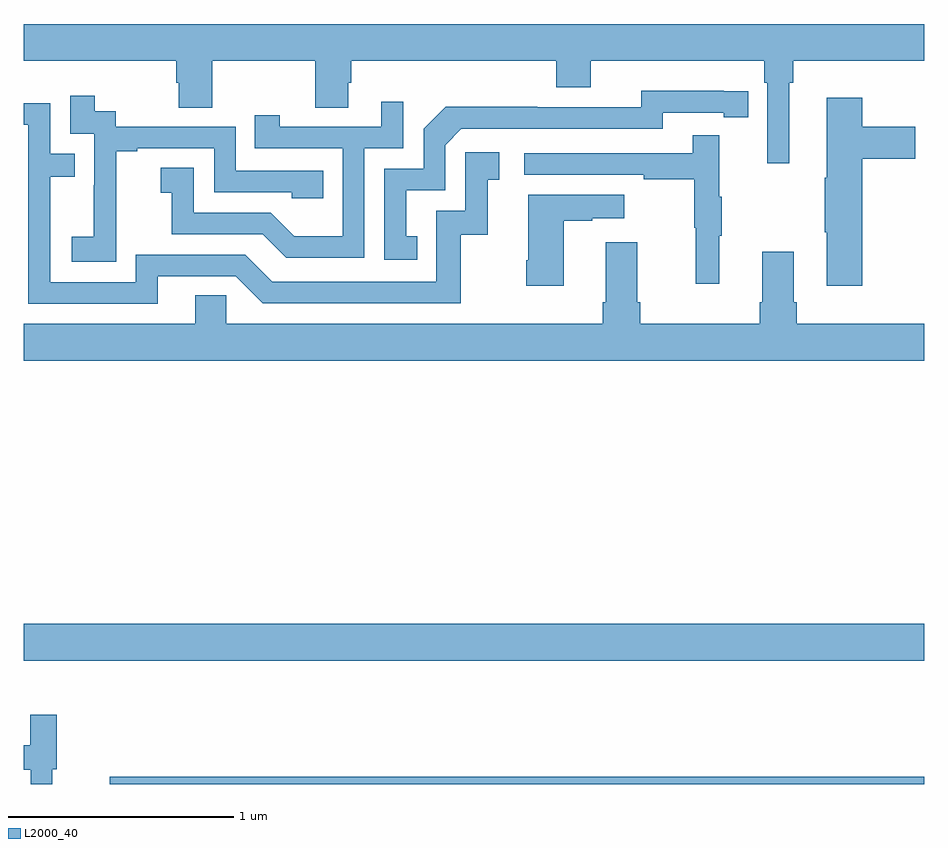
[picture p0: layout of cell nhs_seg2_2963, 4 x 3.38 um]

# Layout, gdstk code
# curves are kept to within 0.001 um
import gdstk
lib = gdstk.Library(unit=1e-6, precision=1e-09)
def R(c, l, rs):  # rectangles x0, y0, x1, y1
    for r in rs: c.add(gdstk.rectangle(r[:2], r[2:], *l))
def P(c, l, *ps):  # polygons
    for p in ps: c.add(gdstk.Polygon(p, *l))
L2000_40 = (2000, 40)

nhs_seg2_2963 = lib.new_cell('nhs_seg2_2963')
R(nhs_seg2_2963, L2000_40, [(267.383,601.8,271,601.832), (267,602.348,271,602.512)])
P(nhs_seg2_2963, L2000_40, [(270.4,604.916),(270.419,604.916),(270.419,605.012),(271,605.012),(271,605.176),(267,605.176),(267,605.012),(267.677,605.012),(267.677,604.914),(267.689,604.914),(267.689,604.804),(267.837,604.804),(267.837,605.012),(268.294,605.012),(268.294,604.804),(268.441,604.804),(268.441,604.914),(268.454,604.914),(268.454,605.012),(269.366,605.012),(269.366,604.895),(269.518,604.895),(269.518,605.012),(270.29,605.012),(270.29,604.916),(270.303,604.916),(270.303,604.557),(270.4,604.557)],
  [(268.748,604.233),(268.699,604.233),(268.699,604.437),(268.872,604.437),(268.872,604.638),(268.944,604.71),(269.838,604.71),(269.838,604.782),(270.11,604.782),(270.11,604.762),(270.218,604.762),(270.218,604.878),(269.742,604.879),(269.742,604.806),(269.282,604.806),(269.282,604.808),(268.874,604.808),(268.776,604.71),(268.776,604.533),(268.602,604.533),(268.602,604.128),(268.748,604.128)],
  [(267.411,604.327),(267.41,604.327),(267.41,604.611),(267.505,604.611),(267.505,604.623),(267.846,604.623),(267.846,604.428),(268.191,604.428),(268.191,604.401),(268.331,604.401),(268.331,604.524),(267.942,604.524),(267.942,604.719),(267.408,604.719),(267.408,604.788),(267.316,604.788),(267.316,604.858),(267.207,604.858),(267.207,604.689),(267.312,604.689),(267.312,604.46),(267.311,604.46),(267.311,604.231),(267.213,604.231),(267.213,604.121),(267.411,604.121)],
  [(270.725,604.577),(270.961,604.577),(270.961,604.719),(270.725,604.719),(270.725,604.849),(270.566,604.849),(270.566,604.493),(270.559,604.493),(270.559,604.252),(270.566,604.252),(270.566,604.014),(270.725,604.014)],
  [(268.512,604.623),(268.686,604.623),(268.686,604.831),(268.589,604.831),(268.589,604.719),(268.138,604.719),(268.138,604.771),(268.027,604.771),(268.027,604.623),(268.416,604.623),(268.416,604.234),(268.202,604.234),(268.098,604.338),(267.756,604.338),(267.756,604.537),(267.609,604.537),(267.609,604.427),(267.658,604.427),(267.658,604.242),(268.061,604.242),(268.166,604.137),(268.512,604.137)],
  [(267.595,604.056),(267.942,604.056),(268.062,603.936),(268.942,603.936),(268.942,604.239),(269.06,604.239),(269.06,604.485),(269.113,604.485),(269.113,604.606),(268.962,604.606),(268.962,604.347),(268.833,604.347),(268.833,604.032),(268.104,604.032),(267.984,604.152),(267.498,604.152),(267.498,604.029),(267.117,604.029),(267.117,604.498),(267.227,604.498),(267.227,604.599),(267.117,604.599),(267.117,604.824),(267,604.824),(267,604.728),(267.021,604.728),(267.021,603.933),(267.595,603.933)],
  [(270.089,604.235),(270.1,604.235),(270.1,604.409),(270.089,604.409),(270.089,604.681),(269.971,604.681),(269.971,604.602),(269.223,604.602),(269.223,604.506),(269.755,604.506),(269.755,604.486),(269.979,604.486),(269.979,604.272),(269.986,604.272),(269.986,604.023),(270.089,604.023)],
  [(269.398,604.303),(269.525,604.303),(269.525,604.313),(269.668,604.313),(269.668,604.417),(269.24,604.417),(269.24,604.126),(269.233,604.126),(269.233,604.014),(269.398,604.014)],
  [(269.585,604.207),(269.585,603.94),(269.573,603.94),(269.573,603.844),(267.9,603.844),(267.9,603.971),(267.761,603.971),(267.761,603.844),(267,603.844),(267,603.68),(271,603.68),(271,603.844),(270.434,603.844),(270.434,603.94),(270.421,603.94),(270.421,604.165),(270.281,604.165),(270.281,603.94),(270.269,603.94),(270.269,603.844),(269.738,603.844),(269.738,603.94),(269.725,603.94),(269.725,604.207)],
  [(267.126,601.866),(267.146,601.866),(267.146,602.107),(267.029,602.107),(267.029,601.972),(267,601.972),(267,601.863),(267.03,601.863),(267.03,601.8),(267.126,601.8)])

lib.write_gds('nhs_seg2_2963.gds')
